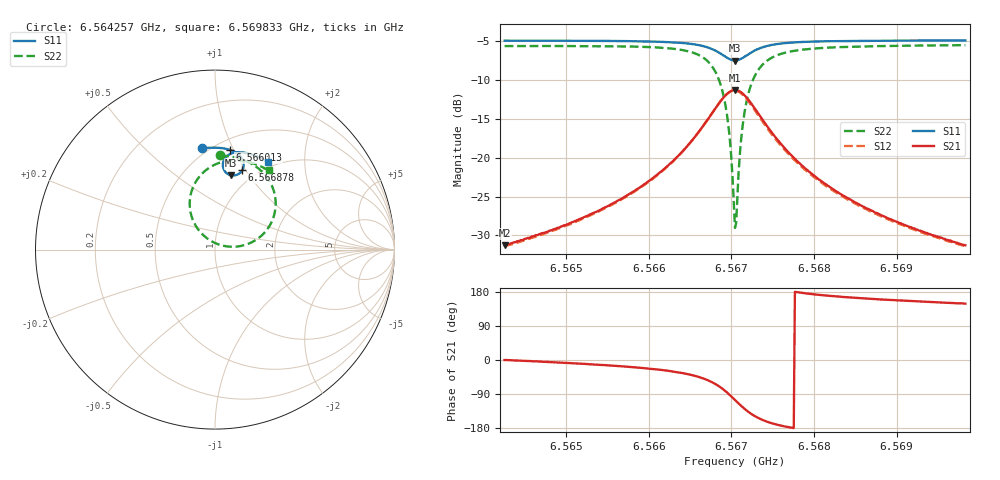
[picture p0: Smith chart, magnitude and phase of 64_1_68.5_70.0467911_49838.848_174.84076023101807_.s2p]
#  HZ  S  RI  R  50.00
! Rohde & Schwarz Vector Network Analyzer
! Rohde-Schwarz,ZNB20-2Port,1311601062101988,3.16
! Created: UTC 3/20/2024, 5:06:36 PM
! freq[Hz]  re:S11  im:S11  re:S21  im:S21  re:S12  im:S12  re:S22  im:S22
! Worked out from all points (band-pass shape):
!   401 points, 6.564257 GHz to 6.569833 GHz, reference 50 ohm
!   highest |S21| = -11.26 dB at 6.567045 GHz (marker M1); lowest = -31.3 dB at 6.564257 GHz (marker M2)
!   |S21| within 3 dB of the highest: 6.566767 GHz to 6.567324 GHz (556.8 kHz wide, 0.00848 % of centre)
!   lowest |S11| = -7.5 dB at 6.567045 GHz (marker M3), VSWR 2.47, Z = 41 + j41.4 ohm
!   |S11| at or under -10 dB: nowhere
!   |S22| runs from -29.0 to -5.5 dB; largest |S21 - S12| = 0.013
!   S11 on the Smith chart (normalised r, x): 6.564257 GHz: 0.46, +0.77; 6.566013 GHz: 0.59, +0.96; 6.566878 GHz: 0.85, +0.97; 6.569833 GHz: 0.92, +1.33
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6.5642573e9  -0.0706 0.5647  0.0272 -9.89e-05  0.0269 -0.000477  0.0287 0.5243
6.5651911e9  0.0056 0.5678  0.0402 -0.00695  0.0394 -0.00762  0.116 0.5124
6.5660135e9  0.081 0.5563  0.0657 -0.0278  0.0648 -0.0286  0.2191 0.4687
6.566125e9  0.0928 0.5524  0.0716 -0.0343  0.0706 -0.0349  0.2374 0.4557
6.5664316e9  0.1274 0.5337  0.0923 -0.0656  0.0908 -0.0669  0.2961 0.3938
6.5666407e9  0.1514 0.5059  0.1056 -0.1139  0.1033 -0.116  0.334 0.3006
6.5667801e9  0.1599 0.4727  0.099 -0.1717  0.0947 -0.1748  0.329 0.1901
6.5668776e9  0.1516 0.4419  0.0671 -0.2245  0.0599 -0.2272  0.2729 0.0913
6.5669613e9  0.1269 0.4189  0.00832 -0.2615  -0.00214 -0.2616  0.1653 0.0253
6.5669891e9  0.1152 0.4146  -0.0177 -0.2674  -0.0288 -0.2658  0.1183 0.0165
6.567031e9  0.0958 0.4131  -0.0592 -0.2665  -0.0704 -0.2619  0.0447 0.0218
6.5670449e9  0.0892 0.4141  -0.0731 -0.2635  -0.084 -0.2578  0.0207 0.0286
6.5670588e9  0.0829 0.4158  -0.0863 -0.259  -0.0971 -0.2525  -0.00256 0.0379
6.5670728e9  0.0768 0.4183  -0.0993 -0.2535  -0.1095 -0.246  -0.0243 0.0495
6.5671146e9  0.0609 0.4293  -0.1329 -0.2298  -0.1408 -0.2202  -0.0799 0.0951
6.5671564e9  0.0501 0.4441  -0.1571 -0.1998  -0.1622 -0.1892  -0.1168 0.1504
6.5672122e9  0.0438 0.4652  -0.1738 -0.1579  -0.1759 -0.1474  -0.1392 0.2258
6.5672818e9  0.0458 0.4888  -0.1765 -0.1116  -0.1758 -0.1026  -0.1354 0.3066
6.5675327e9  0.0842 0.5325  -0.1337 -0.0248  -0.1308 -0.0208  -0.0385 0.4518
6.5679788e9  0.1449 0.5422  -0.0779 0.00835  -0.076 0.00951  0.0899 0.4971
6.5689126e9  0.2306 0.5205  -0.0376 0.0147  -0.0368 0.0151  0.2196 0.4781
6.5698325e9  0.2979 0.487  -0.0233 0.0141  -0.0228 0.0143  0.2985 0.4408
